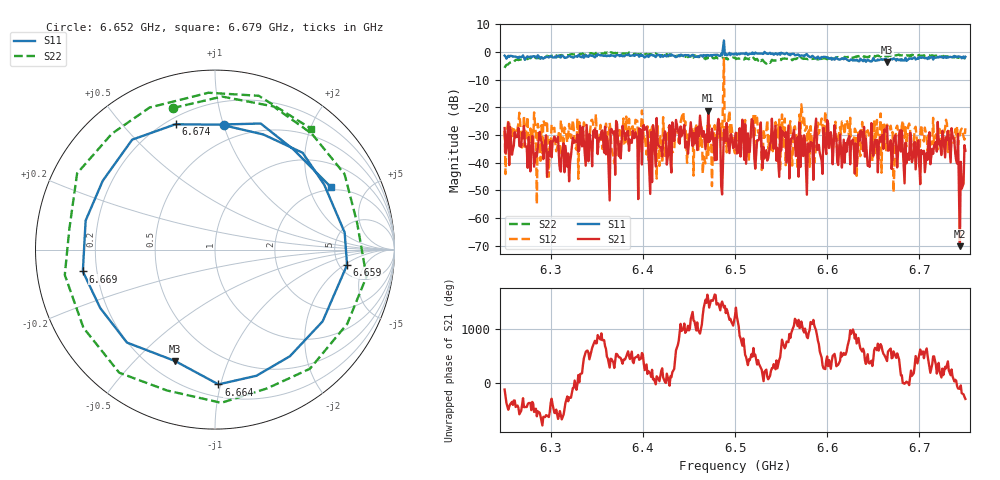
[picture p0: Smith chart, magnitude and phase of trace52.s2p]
# Hz S RI R 50
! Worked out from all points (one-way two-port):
!   401 points, 6.25 GHz to 6.75 GHz, reference 50 ohm
!   highest |S21| = -21.20 dB at 6.471 GHz (marker M1); lowest = -70.2 dB at 6.744 GHz (marker M2)
!   lowest |S11| = -3.6 dB at 6.665 GHz (marker M3), VSWR 4.87, Z = 15 - j33 ohm
!   |S11| at or under -10 dB: nowhere
!   |S22| runs from -5.8 to -0.1 dB; largest |S21 - S12| = 0.78
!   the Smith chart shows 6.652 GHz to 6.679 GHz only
!   S11 on the Smith chart (normalised r, x): 6.652 GHz: 0.38, +1.00; 6.659 GHz: 5.86, -2.21; 6.664 GHz: 0.29, -0.98; 6.669 GHz: 0.15, -0.08; 6.674 GHz: 0.23, +0.71; 6.679 GHz: 1.89, +2.84
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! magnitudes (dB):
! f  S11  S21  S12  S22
! 6.25 GHz  -1.3  -27.5  -28.5  -5.8
! 6.32 GHz  -1.5  -46.8  -26.0  -1.4
! 6.334 GHz  -1.9  -34.1  -28.0  -0.6
! 6.418 GHz  -1.1  -34.3  -41.2  -1.2
! 6.471 GHz  -1.2  -21.2  -37.2  -2.1
! 6.485 GHz  -0.7  -48.3  -30.1  -2.2
! 6.5 GHz  -0.6  -31.4  -36.6  -2.1
! 6.565 GHz  -1.2  -32.8  -26.9  -2.5
! 6.572 GHz  -1.2  -30.2  -18.9  -2.2
! 6.584 GHz  -1.4  -32.9  -34.2  -2.5
! 6.595 GHz  -1.9  -44.1  -26.6  -2.3
! 6.652 GHz  -3.2  -31.7  -37.0  -1.7
! 6.659 GHz  -2.6  -32.3  -43.6  -1.9
! 6.664 GHz  -2.5  -28.7  -35.5  -1.7
! 6.665 GHz  -3.6  -26.6  -26.3  -1.4
! 6.668 GHz  -2.9  -35.4  -28.0  -1.2
! 6.669 GHz  -2.5  -31.9  -26.7  -1.4
! 6.674 GHz  -2.7  -30.1  -32.4  -1.3
! 6.679 GHz  -2.7  -28.3  -30.4  -1.3
! 6.734 GHz  -1.8  -39.9  -38.1  -1.4
! 6.744 GHz  -1.7  -70.2  -29.8  -1.9
! 6.75 GHz  -1.8  -35.7  -27.6  -2.1
